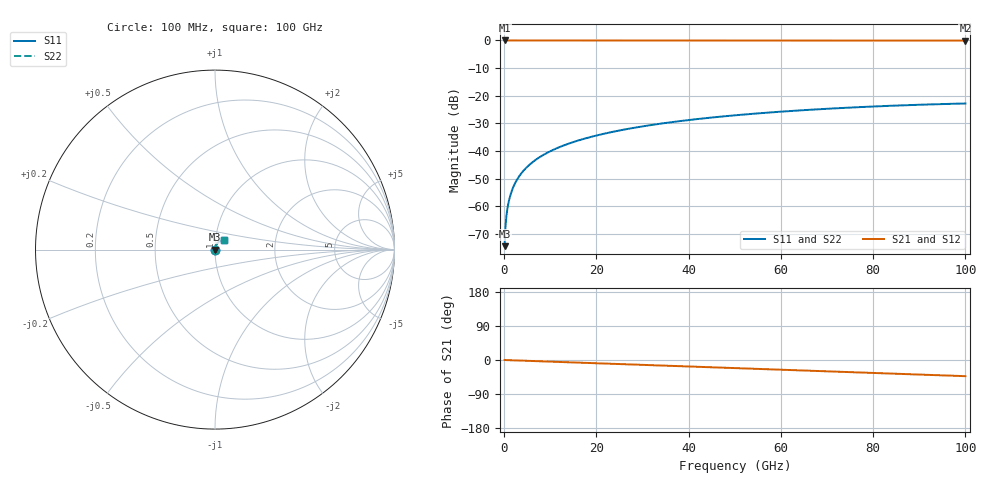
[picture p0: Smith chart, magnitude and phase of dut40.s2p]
! Touchstone file exported from HFSS 2026.1.0
!  File:  C:/ffzhzh/LocalFiles/Ansys_Project_Files/temp_train_TSV_40_1783504747_31944.aedt
!  Generated:  06:00:32 PM Jul  8, 2026
!  Design:  TSV
!  Project:  temp_train_TSV_40_1783504747_31944
! Variables:
!  h_bsmrdl = 2um
!  h_ox = 20um
!  h_rdl = 5um
!  h_sub = 84.42um
!  h_tmrdl = 5um
!  h_tsv = 84.42um
!  h_via = 3um
!  l_bsmrdl = 300um
!  l_sub = 420.36um
!  l_tmrdl = 200um
!  m_sub = 200um
!  pitch = 47.63um
!  r_tsv = 10.18um
!  s_tmrdl = 10um
!  w_bsmrdl = 18um
!  w_sub = 500um
!  w_tmrdl = 12um
!  x_tsv_center1 = 206um
!  x_tsv_center2 = 524um
!  x_tsv_center3 = 736um
!  x_tsv_center4 = 1054um
!  x_tsv_center5 = 1266um
!  x_tsv_center6 = 1584um
# GHz S MA R 50.000000
! Terminal data exported
! Port[1] = TSV1_1_T1
! Port[2] = TSV1_1_T2
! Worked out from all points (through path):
!   1000 points, 100 MHz to 100 GHz, reference 50 ohm
!   highest |S21| = 0.00 dB at 100 MHz (marker M1); lowest = -0.1 dB at 100 GHz (marker M2)
!   group delay of S21, straight-line fit = 1.18 ps
!   lowest |S11| = -74.5 dB at 100 MHz (marker M3), VSWR 1.00, Z = 50 + j0.0139 ohm
!   |S11| at or under -10 dB: start of sweep to end of sweep
!   |S22| runs from -74.5 to -22.8 dB; largest |S21 - S12| = 6.6e-15
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0.1  0.0001886 47.3  0.9999 -0.0  0.9999 -0.0  0.0001886 47.3
! Gamma 0 0 0 0
! Port Impedance 50 0 50 0
0.4  0.0005559 70.8  0.9998 -0.2  0.9998 -0.2  0.0005559 70.8
0.7  0.0008974 74.0  0.9998 -0.3  0.9998 -0.3  0.0008974 74.0
0.8  0.001005 74.6  0.9997 -0.4  0.9997 -0.4  0.001005 74.6
1  0.001216 75.7  0.9997 -0.4  0.9997 -0.4  0.001216 75.7
1.3  0.001525 76.9  0.9997 -0.6  0.9997 -0.6  0.001525 76.9
1.8  0.002034 78.2  0.9996 -0.8  0.9996 -0.8  0.002034 78.2
2.4  0.002635 79.2  0.9995 -1.0  0.9995 -1.0  0.002635 79.2
3.1  0.003325 79.8  0.9995 -1.3  0.9995 -1.3  0.003325 79.8
3.9  0.004101 80.2  0.9994 -1.7  0.9994 -1.7  0.004101 80.2
4.9  0.005061 80.6  0.9993 -2.1  0.9993 -2.1  0.005061 80.6
6.1  0.006202 80.7  0.9993 -2.6  0.9993 -2.6  0.006202 80.7
8.9  0.00884 80.5  0.9991 -3.8  0.9991 -3.8  0.00884 80.5
12.4  0.01209 79.7  0.9989 -5.3  0.9989 -5.3  0.01209 79.7
16.8  0.01611 78.5  0.9987 -7.2  0.9987 -7.2  0.01611 78.5
24.2  0.02275 76.0  0.9983 -10.4  0.9983 -10.4  0.02275 76.0
33.4  0.03072 72.6  0.9978 -14.3  0.9978 -14.3  0.03072 72.6
41.2  0.03719 69.5  0.9974 -17.6  0.9974 -17.6  0.03719 69.6
50.1  0.04418 66.0  0.9969 -21.4  0.9969 -21.4  0.04418 66.0
66.7  0.05586 59.2  0.996 -28.5  0.996 -28.5  0.05586 59.3
83.4  0.06546 52.3  0.9951 -35.6  0.9951 -35.6  0.06546 52.3
100  0.07227 45.4  0.9942 -42.7  0.9942 -42.7  0.07227 45.5
